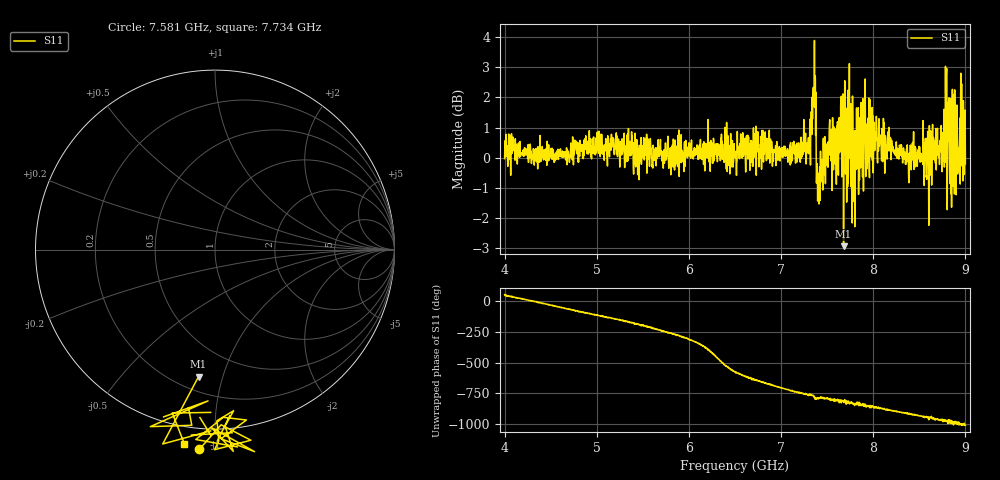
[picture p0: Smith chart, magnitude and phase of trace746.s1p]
! Created with skrf 1.8.0 (http://scikit-rf.org).
# Hz S RI R 50.0
!freq ReS11 ImS11
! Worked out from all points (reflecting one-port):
!   1601 points, 4 GHz to 9 GHz, reference 50 ohm
!   lowest |S11| = -2.9 dB at 7.678 GHz (marker M1), VSWR 5.97, Z = 14.5 - j41.8 ohm
!   phase of S11 starts at 53 deg and turns -1064 deg over the sweep
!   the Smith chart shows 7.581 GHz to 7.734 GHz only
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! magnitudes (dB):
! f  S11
! 4 GHz  0.0
! 4.625 GHz  0.1
! 5.25 GHz  -0.3
! 5.875 GHz  0.2
! 6.416 GHz  -0.5
! 6.5 GHz  0.0
! 6.803 GHz  0.9
! 7.125 GHz  0.2
! 7.294 GHz  0.6
! 7.353 GHz  1.7
! 7.409 GHz  -1.0
! 7.525 GHz  1.1
! 7.619 GHz  -0.3
! 7.65 GHz  1.2
! 7.678 GHz  -2.9
! 7.703 GHz  0.3
! 7.75 GHz  0.2
! 7.784 GHz  0.0
! 7.891 GHz  -0.2
! 7.909 GHz  1.1
! 8.012 GHz  1.2
! 8.375 GHz  0.0
! 8.578 GHz  -0.6
! 8.738 GHz  1.1
! 8.8 GHz  0.3
! 8.825 GHz  0.3
! 8.972 GHz  0.6
! 9 GHz  -0.2
